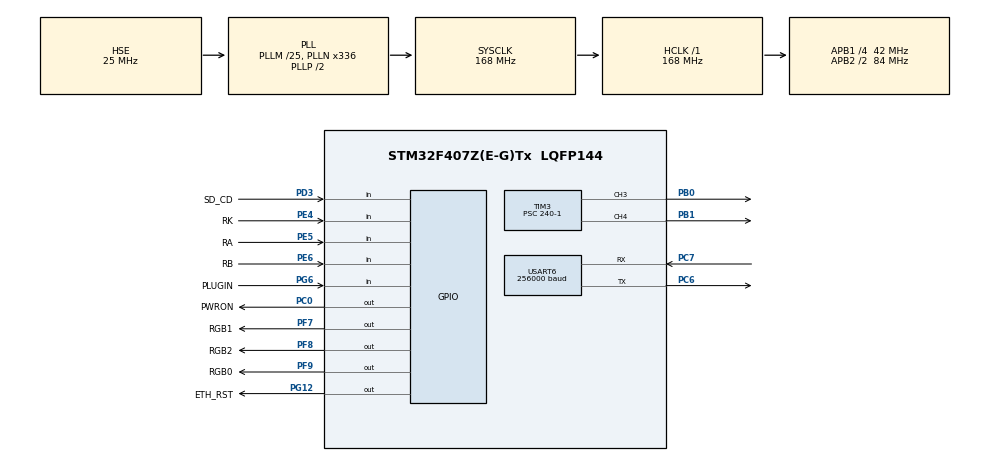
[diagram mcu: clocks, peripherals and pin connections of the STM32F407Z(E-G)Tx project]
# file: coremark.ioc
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ADC1.Channel-0\#ChannelRegularConversion=ADC_CHANNEL_TEMPSENSOR
ADC1.Channel-1\#ChannelRegularConversion=ADC_CHANNEL_VREFINT
ADC1.Channel-2\#ChannelRegularConversion=ADC_CHANNEL_VBAT
ADC1.ClockPrescaler=ADC_CLOCK_SYNC_PCLK_DIV8
ADC1.ContinuousConvMode=ENABLE
ADC1.DMAContinuousRequests=ENABLE
ADC1.NbrOfConversion=3
ADC1.NbrOfConversionFlag=1
ADC1.Rank-0\#ChannelRegularConversion=1
ADC1.Rank-1\#ChannelRegularConversion=2
ADC1.Rank-2\#ChannelRegularConversion=3
ADC1.SamplingTime-0\#ChannelRegularConversion=ADC_SAMPLETIME_480CYCLES
ADC1.SamplingTime-1\#ChannelRegularConversion=ADC_SAMPLETIME_480CYCLES
ADC1.SamplingTime-2\#ChannelRegularConversion=ADC_SAMPLETIME_480CYCLES
ADC1.ScanConvMode=ENABLE
ADC1.master=1
Dma.ADC1.0.Direction=DMA_PERIPH_TO_MEMORY
Dma.ADC1.0.FIFOMode=DMA_FIFOMODE_DISABLE
Dma.ADC1.0.Instance=DMA2_Stream0
Dma.ADC1.0.MemDataAlignment=DMA_MDATAALIGN_HALFWORD
Dma.ADC1.0.MemInc=DMA_MINC_ENABLE
Dma.ADC1.0.Mode=DMA_CIRCULAR
Dma.ADC1.0.PeriphDataAlignment=DMA_PDATAALIGN_HALFWORD
Dma.ADC1.0.PeriphInc=DMA_PINC_DISABLE
Dma.ADC1.0.Priority=DMA_PRIORITY_LOW
Dma.Request0=ADC1
Dma.Request1=USART6_TX
Dma.Request2=USART6_RX
Dma.USART6_RX.2.Direction=DMA_PERIPH_TO_MEMORY
Dma.USART6_RX.2.FIFOMode=DMA_FIFOMODE_DISABLE
Dma.USART6_RX.2.Instance=DMA2_Stream1
Dma.USART6_RX.2.MemDataAlignment=DMA_MDATAALIGN_BYTE
Dma.USART6_RX.2.MemInc=DMA_MINC_ENABLE
Dma.USART6_RX.2.Mode=DMA_NORMAL
Dma.USART6_RX.2.PeriphDataAlignment=DMA_PDATAALIGN_BYTE
Dma.USART6_RX.2.PeriphInc=DMA_PINC_DISABLE
Dma.USART6_RX.2.Priority=DMA_PRIORITY_LOW
Dma.USART6_TX.1.Direction=DMA_MEMORY_TO_PERIPH
Dma.USART6_TX.1.FIFOMode=DMA_FIFOMODE_DISABLE
Dma.USART6_TX.1.Instance=DMA2_Stream6
Dma.USART6_TX.1.MemDataAlignment=DMA_MDATAALIGN_BYTE
Dma.USART6_TX.1.MemInc=DMA_MINC_ENABLE
Dma.USART6_TX.1.Mode=DMA_NORMAL
Dma.USART6_TX.1.PeriphDataAlignment=DMA_PDATAALIGN_BYTE
Dma.USART6_TX.1.PeriphInc=DMA_PINC_DISABLE
Dma.USART6_TX.1.Priority=DMA_PRIORITY_LOW
Mcu.Family=STM32F4
Mcu.Name=STM32F407Z(E-G)Tx
Mcu.Package=LQFP144
NVIC.DMA2_Stream0_IRQn=true\:0\:0\:false\:false\:true\:false
NVIC.DMA2_Stream1_IRQn=true\:0\:0\:false\:false\:true\:false
NVIC.DMA2_Stream6_IRQn=true\:0\:0\:false\:false\:true\:false
NVIC.PriorityGroup=NVIC_PRIORITYGROUP_2
NVIC.TIM6_DAC_IRQn=true\:3\:0\:true\:false\:true\:true
PA0-WKUP.Mode=SYS_WakeUp0
PA0-WKUP.Signal=SYS_WKUP
PA13.Mode=Serial_Wire
PA13.Signal=SYS_JTMS-SWDIO
PA14.Mode=Serial_Wire
PA14.Signal=SYS_JTCK-SWCLK
PB0.Signal=S_TIM3_CH3
PB1.Signal=S_TIM3_CH4
PC0.GPIO_Label=PWRON
PC0.Signal=GPIO_Output
PC14-OSC32_IN.Mode=LSE-External-Oscillator
PC14-OSC32_IN.Signal=RCC_OSC32_IN
PC15-OSC32_OUT.Mode=LSE-External-Oscillator
PC15-OSC32_OUT.Signal=RCC_OSC32_OUT
PC6.Mode=Asynchronous
PC6.Signal=USART6_TX
PC7.Mode=Asynchronous
PC7.Signal=USART6_RX
PD3.GPIO_Label=SD_CD
PD3.Signal=GPIO_Input
PE4.GPIO_Label=RK
PE4.Signal=GPIO_Input
PE5.GPIO_Label=RA
PE5.Signal=GPIO_Input
PE6.GPIO_Label=RB
PE6.Signal=GPIO_Input
PF7.GPIO_Label=RGB1
PF7.Signal=GPIO_Output
PF8.GPIO_Label=RGB2
PF8.Signal=GPIO_Output
PF9.GPIO_Label=RGB0
PF9.Signal=GPIO_Output
PG12.GPIO_Label=ETH_RST
PG12.PinState=GPIO_PIN_SET
PG12.Signal=GPIO_Output
PG6.GPIO_Label=PLUGIN
PG6.Signal=GPIO_Input
PH0-OSC_IN.Mode=HSE-External-Oscillator
PH0-OSC_IN.Signal=RCC_OSC_IN
PH1-OSC_OUT.Mode=HSE-External-Oscillator
PH1-OSC_OUT.Signal=RCC_OSC_OUT
ProjectManager.HeapSize=0x200
ProjectManager.StackSize=0x2000
ProjectManager.TargetToolchain=MDK-ARM V5
RCC.48MHZClocksFreq_Value=48000000
RCC.AHBFreq_Value=168000000
RCC.APB1CLKDivider=RCC_HCLK_DIV4
RCC.APB1Freq_Value=42000000
RCC.APB1TimFreq_Value=84000000
RCC.APB2CLKDivider=RCC_HCLK_DIV2
RCC.APB2Freq_Value=84000000
RCC.APB2TimFreq_Value=168000000
RCC.CortexFreq_Value=168000000
RCC.HCLKFreq_Value=168000000
RCC.HSE_VALUE=25000000
RCC.HSI_VALUE=16000000
RCC.PLLI2SN=100
RCC.PLLM=25
RCC.PLLN=336
RCC.PLLQ=7
RCC.PLLSourceVirtual=RCC_PLLSOURCE_HSE
RCC.RCC_RTC_Clock_SourceVirtual=RCC_RTCCLKSOURCE_LSE
RCC.SYSCLKFreq_VALUE=168000000
RCC.SYSCLKSource=RCC_SYSCLKSOURCE_PLLCLK
RCC.VCOOutputFreq_Value=336000000
SH.S_TIM3_CH3.0=TIM3_CH3,PWM Generation3 CH3
SH.S_TIM3_CH4.0=TIM3_CH4,PWM Generation4 CH4
TIM3.Channel-PWM\ Generation3\ CH3=TIM_CHANNEL_3
TIM3.Channel-PWM\ Generation4\ CH4=TIM_CHANNEL_4
TIM3.ClockDivision=TIM_CLOCKDIVISION_DIV2
TIM3.Period=255
TIM3.Prescaler=240-1
TIM6.Period=9
TIM6.Prescaler=8399
TIM6.TIM_MasterOutputTrigger=TIM_TRGO_UPDATE
USART6.BaudRate=256000
USART6.VirtualMode=VM_ASYNC
VP_ADC1_TempSens_Input.Mode=IN-TempSens
VP_ADC1_Vbat_Input.Mode=IN-Vbat
VP_ADC1_Vref_Input.Mode=IN-Vrefint
VP_TIM3_VS_ClockSourceINT.Mode=Internal
VP_TIM6_VS_ClockSourceINT.Mode=Enable_Timer
board=coremark

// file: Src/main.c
/**
  ******************************************************************************
  * File Name          : main.c
  * Description        : Main program body
  ******************************************************************************
  ** This notice applies to any and all portions of this file
  * that are not between comment pairs USER CODE BEGIN and
  * USER CODE END. Other portions of this file, whether
  * inserted by the user or by software development tools
  * are owned by their respective copyright owners.
  *
  * COPYRIGHT(c) 2017 STMicroelectronics
  *
  * Redistribution and use in source and binary forms, with or without modification,
  * are permitted provided that the following conditions are met:
  *   1. Redistributions of source code must retain the above copyright notice,
  *      this list of conditions and the following disclaimer.
  *   2. Redistributions in binary form must reproduce the above copyright notice,
  *      this list of conditions and the following disclaimer in the documentation
  *      and/or other materials provided with the distribution.
  *   3. Neither the name of STMicroelectronics nor the names of its contributors
  *      may be used to endorse or promote products derived from this software
  *      without specific prior written permission.
  *
  * THIS SOFTWARE IS PROVIDED BY THE COPYRIGHT HOLDERS AND CONTRIBUTORS "AS IS"
  * AND ANY EXPRESS OR IMPLIED WARRANTIES, INCLUDING, BUT NOT LIMITED TO, THE
  * IMPLIED WARRANTIES OF MERCHANTABILITY AND FITNESS FOR A PARTICULAR PURPOSE ARE
  * DISCLAIMED. IN NO EVENT SHALL THE COPYRIGHT HOLDER OR CONTRIBUTORS BE LIABLE
  * FOR ANY DIRECT, INDIRECT, INCIDENTAL, SPECIAL, EXEMPLARY, OR CONSEQUENTIAL
  * DAMAGES (INCLUDING, BUT NOT LIMITED TO, PROCUREMENT OF SUBSTITUTE GOODS OR
  * SERVICES; LOSS OF USE, DATA, OR PROFITS; OR BUSINESS INTERRUPTION) HOWEVER
  * CAUSED AND ON ANY THEORY OF LIABILITY, WHETHER IN CONTRACT, STRICT LIABILITY,
  * OR TORT (INCLUDING NEGLIGENCE OR OTHERWISE) ARISING IN ANY WAY OUT OF THE USE
  * OF THIS SOFTWARE, EVEN IF ADVISED OF THE POSSIBILITY OF SUCH DAMAGE.
  *
  ******************************************************************************
  */

#include "main.h"
#include "stm32f4xx_hal.h"
#include "adc.h"
#include "dma.h"
#include "tim.h"
#include "usart.h"
#include "gpio.h"

/* USER CODE BEGIN Includes */
__IO uint16_t g_ADCBuf[3];

/* USER CODE END Includes */

/* USER CODE BEGIN PV */
/* Private variables ---------------------------------------------------------*/
/*
 * C Converted Whetstone Double Precision Benchmark
 *		Version 1.2	22 March 1998
 *
 *	(c) Copyright 1998 Painter Engineering, Inc.
 *		All Rights Reserved.
 *
 *		Permission is granted to use, duplicate, and
 *		publish this text and program as long as it
 *		includes this entire comment block and limited
 *		rights reference.
 *
 * Converted by Rich Painter, Painter Engineering, Inc. based on the
 * www.netlib.org benchmark/whetstoned version obtained 16 March 1998.
 *
 * A novel approach was used here to keep the look and feel of the
 * FORTRAN version.  Altering the FORTRAN-based array indices,
 * starting at element 1, to start at element 0 for C, would require
 * numerous changes, including decrementing the variable indices by 1.
 * Instead, the array E1[] was declared 1 element larger in C.  This
 * allows the FORTRAN index range to function without any literal or
 * variable indices changes.  The array element E1[0] is simply never
 * used and does not alter the benchmark results.
 *
 * The major FORTRAN comment blocks were retained to minimize
 * differences between versions.  Modules N5 and N12, like in the
 * FORTRAN version, have been eliminated here.
 *
 * An optional command-line argument has been provided [-c] to
 * offer continuous repetition of the entire benchmark.
 * An optional argument for setting an alternate LOOP count is also
 * provided.  Define PRINTOUT to cause the POUT() function to print
 * outputs at various stages.  Final timing measurements should be
 * made with the PRINTOUT undefined.
 *
 * Questions and comments may be directed to the author at
 *			r.painter@ieee.org
 */
/*
C**********************************************************************
C     Benchmark #2 -- Double  Precision Whetstone (A001)
C
C     o	This is a REAL*8 version of
C	the Whetstone benchmark program.
C
C     o	DO-loop semantics are ANSI-66 compatible.
C
C     o	Final measurements are to be made with all
C	WRITE statements and FORMAT sttements removed.
C
C**********************************************************************
*/
/* map the FORTRAN math functions, etc. to the C versions */
#define DSIN	sin
#define DCOS	cos
#define DATAN	atan
#define DLOG	log
#define DEXP	exp
#define DSQRT	sqrt
#define IF		if

/* function prototypes */
void POUT(long N, long J, long K, double X1, double X2, double X3, double X4);
void PA(double E[]);
void P0(void);
void P3(double X, double Y, double *Z);
#define USAGE	"usage: whetdc [-c] [loops]\n"

/*
	COMMON T,T1,T2,E1(4),J,K,L
*/
double T,T1,T2,E1[5];
int J,K,L;

/* USER CODE END PV */

void SystemClock_Config(void);

/* USER CODE BEGIN PFP */
/* Private function prototypes -----------------------------------------------*/

/* USER CODE END PFP */

/* USER CODE BEGIN 0 */
#if defined(__ARMCC_VERSION)
int stdout_putchar (int ch)
{
	uint8_t c = ch;
	HAL_UART_Transmit(&huart6, &c, 1, 1);
	return ch;
}
#else
int _write (int fd, const void *buf, size_t count)
{
	for(uint32_t i=0; i<count; ++i)
	{
		HAL_UART_Transmit(&huart6, buf+i, 1, 1);
	}
	return count;
}
#endif

void
PA(double E[])
{
	J = 0;

L10:
	E[1] = ( E[1] + E[2] + E[3] - E[4]) * T;
	E[2] = ( E[1] + E[2] - E[3] + E[4]) * T;
	E[3] = ( E[1] - E[2] + E[3] + E[4]) * T;
	E[4] = (-E[1] + E[2] + E[3] + E[4]) / T2;
	J += 1;

	if (J < 6)
		goto L10;
}

void
P0(void)
{
	E1[J] = E1[K];
	E1[K] = E1[L];
	E1[L] = E1[J];
}

void
P3(double X, double Y, double *Z)
{
	double X1, Y1;

	X1 = X;
	Y1 = Y;
	X1 = T * (X1 + Y1);
	Y1 = T * (X1 + Y1);
	*Z  = (X1 + Y1) / T2;
}

#ifdef PRINTOUT
void
POUT(long N, long J, long K, double X1, double X2, double X3, double X4)
{
	printf("%7ld %7ld %7ld %12.4e %12.4e %12.4e %12.4e\n",
						N, J, K, X1, X2, X3, X4);
}
#endif
/* USER CODE END 0 */

int main(void)
{

  /* USER CODE BEGIN 1 */
/* used in the FORTRAN version */
	long I;
	long N1, N2, N3, N4, N6, N7, N8, N9, N10, N11;
	double X1,X2,X3,X4,X,Y,Z;
	long LOOP;
	int II, JJ;

	/* added for this version */
	long loopstart;
//	long startsec, finisec;
	uint32_t start_tick, fini_tick;
	float KIPS;
	int continuous;

//On my host PC
//Loops: 500000, Iterations: 1, Duration: 16 sec.
//C Converted Double Precision Whetstones: 3125.0 MIPS
	loopstart = 2000;		/* see the note about LOOP below */
	continuous = 1;
	II = 1;		/* start at the first arg (temp use of II here) */
  /* USER CODE END 1 */

  /* MCU Configuration----------------------------------------------------------*/

  /* Reset of all peripherals, Initializes the Flash interface and the Systick. */
  HAL_Init();

  /* Configure the system clock */
  SystemClock_Config();

  /* Initialize all configured peripherals */
  MX_GPIO_Init();
  MX_DMA_Init();
  MX_TIM3_Init();
  MX_TIM6_Init();
  MX_USART6_UART_Init();
  MX_ADC1_Init();

  /* USER CODE BEGIN 2 */
	printf("F407 Whetstone @ %u Hz\n", SystemCoreClock);
	HAL_ADC_Start_DMA(&hadc1, (uint32_t*)g_ADCBuf, 3);
  /* USER CODE END 2 */

  /* Infinite loop */
  /* USER CODE BEGIN WHILE */

LCONT:
/*
C
C	Start benchmark timing at this point.
C
*/
	start_tick = HAL_GetTick();

/*
C
C	The actual benchmark starts here.
C
*/
	T  = .499975;
	T1 = 0.50025;
	T2 = 2.0;
/*
C
C	With loopcount LOOP=10, one million Whetstone instructions
C	will be executed in EACH MAJOR LOOP..A MAJOR LOOP IS EXECUTED
C	'II' TIMES TO INCREASE WALL-CLOCK TIMING ACCURACY.
C
	LOOP = 1000;
*/
	LOOP = loopstart;
	II   = 1;

	JJ = 1;

IILOOP:
	N1  = 0;
	N2  = 12 * LOOP;
	N3  = 14 * LOOP;
	N4  = 345 * LOOP;
	N6  = 210 * LOOP;
	N7  = 32 * LOOP;
	N8  = 899 * LOOP;
	N9  = 616 * LOOP;
	N10 = 0;
	N11 = 93 * LOOP;
/*
C
C	Module 1: Simple identifiers
C
*/
	X1  =  1.0;
	X2  = -1.0;
	X3  = -1.0;
	X4  = -1.0;

	for (I = 1; I <= N1; I++) {
	    X1 = (X1 + X2 + X3 - X4) * T;
	    X2 = (X1 + X2 - X3 + X4) * T;
	    X3 = (X1 - X2 + X3 + X4) * T;
	    X4 = (-X1+ X2 + X3 + X4) * T;
	}
#ifdef PRINTOUT
	IF (JJ==II)POUT(N1,N1,N1,X1,X2,X3,X4);
#endif

/*
C
C	Module 2: Array elements
C
*/
	E1[1] =  1.0;
	E1[2] = -1.0;
	E1[3] = -1.0;
	E1[4] = -1.0;

	for (I = 1; I <= N2; I++) {
	    E1[1] = ( E1[1] + E1[2] + E1[3] - E1[4]) * T;
	    E1[2] = ( E1[1] + E1[2] - E1[3] + E1[4]) * T;
	    E1[3] = ( E1[1] - E1[2] + E1[3] + E1[4]) * T;
	    E1[4] = (-E1[1] + E1[2] + E1[3] + E1[4]) * T;
	}

#ifdef PRINTOUT
	IF (JJ==II)POUT(N2,N3,N2,E1[1],E1[2],E1[3],E1[4]);
#endif

/*
C
C	Module 3: Array as parameter
C
*/
	for (I = 1; I <= N3; I++)
		PA(E1);

#ifdef PRINTOUT
	IF (JJ==II)POUT(N3,N2,N2,E1[1],E1[2],E1[3],E1[4]);
#endif

/*
C
C	Module 4: Conditional jumps
C
*/
	J = 1;
	for (I = 1; I <= N4; I++) {
		if (J == 1)
			J = 2;
		else
			J = 3;

		if (J > 2)
			J = 0;
		else
			J = 1;

		if (J < 1)
			J = 1;
		else
			J = 0;
	}

#ifdef PRINTOUT
	IF (JJ==II)POUT(N4,J,J,X1,X2,X3,X4);
#endif

/*
C
C	Module 5: Omitted
C 	Module 6: Integer arithmetic
C
*/

	J = 1;
	K = 2;
	L = 3;

	for (I = 1; I <= N6; I++) {
	    J = J * (K-J) * (L-K);
	    K = L * K - (L-J) * K;
	    L = (L-K) * (K+J);
	    E1[L-1] = J + K + L;
	    E1[K-1] = J * K * L;
	}

#ifdef PRINTOUT
	IF (JJ==II)POUT(N6,J,K,E1[1],E1[2],E1[3],E1[4]);
#endif

/*
C
C	Module 7: Trigonometric functions
C
*/
	X = 0.5;
	Y = 0.5;

	for (I = 1; I <= N7; I++) {
		X = T * DATAN(T2*DSIN(X)*DCOS(X)/(DCOS(X+Y)+DCOS(X-Y)-1.0));
		Y = T * DATAN(T2*DSIN(Y)*DCOS(Y)/(DCOS(X+Y)+DCOS(X-Y)-1.0));
	}

#ifdef PRINTOUT
	IF (JJ==II)POUT(N7,J,K,X,X,Y,Y);
#endif

/*
C
C	Module 8: Procedure calls
C
*/
	X = 1.0;
	Y = 1.0;
	Z = 1.0;

	for (I = 1; I <= N8; I++)
		P3(X,Y,&Z);

#ifdef PRINTOUT
	IF (JJ==II)POUT(N8,J,K,X,Y,Z,Z);
#endif

/*
C
C	Module 9: Array references
C
*/
	J = 1;
	K = 2;
	L = 3;
	E1[1] = 1.0;
	E1[2] = 2.0;
	E1[3] = 3.0;

	for (I = 1; I <= N9; I++)
		P0();

#ifdef PRINTOUT
	IF (JJ==II)POUT(N9,J,K,E1[1],E1[2],E1[3],E1[4]);
#endif

/*
C
C	Module 10: Integer arithmetic
C
*/
	J = 2;
	K = 3;

	for (I = 1; I <= N10; I++) {
	    J = J + K;
	    K = J + K;
	    J = K - J;
	    K = K - J - J;
	}

#ifdef PRINTOUT
	IF (JJ==II)POUT(N10,J,K,X1,X2,X3,X4);
#endif

/*
C
C	Module 11: Standard functions
C
*/
	X = 0.75;

	for (I = 1; I <= N11; I++)
		X = DSQRT(DEXP(DLOG(X)/T1));

#ifdef PRINTOUT
	IF (JJ==II)POUT(N11,J,K,X,X,X,X);
#endif

/*
C
C      THIS IS THE END OF THE MAJOR LOOP.
C
*/
	if (++JJ <= II)
		goto IILOOP;

/*
C
C      Stop benchmark timing at this point.
C
*/
	fini_tick = HAL_GetTick();

/*
C----------------------------------------------------------------
C      Performance in Whetstone KIP's per second is given by
C
C	(100*LOOP*II)/TIME
C
C      where TIME is in seconds.
C--------------------------------------------------------------------
*/
	printf("\n");
	if (fini_tick-start_tick <= 1000) {
		printf("Insufficient duration- Increase the LOOP count\n");
		return(1);
	}

	printf("Loops: %ld, Iterations: %d, Duration: %u/%u sec.\n",
			LOOP, II, fini_tick-start_tick, 1000);

	KIPS = (100.0*LOOP*II)/(float)((fini_tick-start_tick)/1000);
	if (KIPS >= 1000.0)
		printf("C Converted Double Precision Whetstones: %.1f MIPS\n", KIPS/1000.0);
	else
		printf("C Converted Double Precision Whetstones: %.1f KIPS\n", KIPS);

	printf("%u %u %u\n", g_ADCBuf[0], g_ADCBuf[1], g_ADCBuf[2]);

	if (continuous)
		goto LCONT;

  while (1)
  {
  /* USER CODE END WHILE */

  /* USER CODE BEGIN 3 */
//		printf("%u %u %u\n", g_ADCBuf[0], g_ADCBuf[1], g_ADCBuf[2]);
		HAL_Delay(20000);
  }
  /* USER CODE END 3 */

}

/** System Clock Configuration
*/
void SystemClock_Config(void)
{

  RCC_OscInitTypeDef RCC_OscInitStruct;
  RCC_ClkInitTypeDef RCC_ClkInitStruct;

    /**Configure the main internal regulator output voltage
    */
  __HAL_RCC_PWR_CLK_ENABLE();

  __HAL_PWR_VOLTAGESCALING_CONFIG(PWR_REGULATOR_VOLTAGE_SCALE1);

    /**Initializes the CPU, AHB and APB busses clocks
    */
  RCC_OscInitStruct.OscillatorType = RCC_OSCILLATORTYPE_HSE;
  RCC_OscInitStruct.HSEState = RCC_HSE_ON;
  RCC_OscInitStruct.PLL.PLLState = RCC_PLL_ON;
  RCC_OscInitStruct.PLL.PLLSource = RCC_PLLSOURCE_HSE;
  RCC_OscInitStruct.PLL.PLLM = 25;
  RCC_OscInitStruct.PLL.PLLN = 336;
  RCC_OscInitStruct.PLL.PLLP = RCC_PLLP_DIV2;
  RCC_OscInitStruct.PLL.PLLQ = 7;
  if (HAL_RCC_OscConfig(&RCC_OscInitStruct) != HAL_OK)
  {
    _Error_Handler(__FILE__, __LINE__);
  }

    /**Initializes the CPU, AHB and APB busses clocks
    */
  RCC_ClkInitStruct.ClockType = RCC_CLOCKTYPE_HCLK|RCC_CLOCKTYPE_SYSCLK
                              |RCC_CLOCKTYPE_PCLK1|RCC_CLOCKTYPE_PCLK2;
  RCC_ClkInitStruct.SYSCLKSource = RCC_SYSCLKSOURCE_PLLCLK;
  RCC_ClkInitStruct.AHBCLKDivider = RCC_SYSCLK_DIV1;
  RCC_ClkInitStruct.APB1CLKDivider = RCC_HCLK_DIV4;
  RCC_ClkInitStruct.APB2CLKDivider = RCC_HCLK_DIV2;

  if (HAL_RCC_ClockConfig(&RCC_ClkInitStruct, FLASH_LATENCY_5) != HAL_OK)
  {
    _Error_Handler(__FILE__, __LINE__);
  }

    /**Enables the Clock Security System
    */
  HAL_RCC_EnableCSS();

    /**Configure the Systick interrupt time
    */
  HAL_SYSTICK_Config(HAL_RCC_GetHCLKFreq()/1000);

    /**Configure the Systick
    */
  HAL_SYSTICK_CLKSourceConfig(SYSTICK_CLKSOURCE_HCLK);

  /* SysTick_IRQn interrupt configuration */
  HAL_NVIC_SetPriority(SysTick_IRQn, 0, 0);
}

void _Error_Handler(char * file, int line)
{
  while(1)
  {
  }
}

/************************ (C) COPYRIGHT STMicroelectronics *****END OF FILE****/
